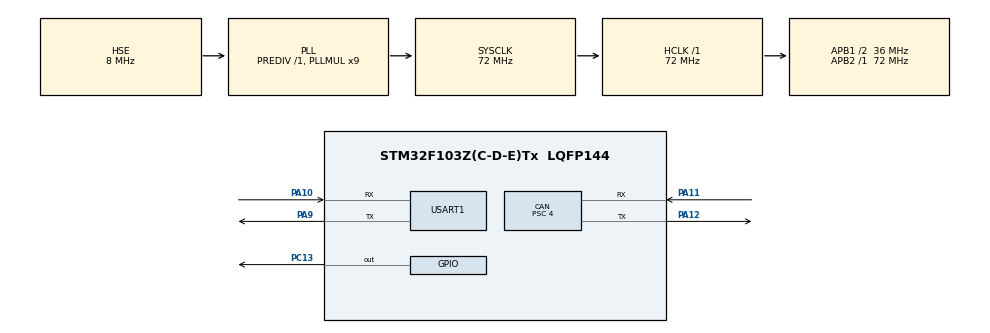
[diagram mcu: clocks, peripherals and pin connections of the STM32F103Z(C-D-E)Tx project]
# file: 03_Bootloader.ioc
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CAN.BS1=CAN_BS1_9TQ
CAN.BS2=CAN_BS2_8TQ
CAN.CalculateBaudRate=500000
CAN.CalculateTimeBit=2000
CAN.CalculateTimeQuantum=111.11111111111111
CAN.NART=ENABLE
CAN.Prescaler=4
Mcu.Family=STM32F1
Mcu.Name=STM32F103Z(C-D-E)Tx
Mcu.Package=LQFP144
NVIC.PriorityGroup=NVIC_PRIORITYGROUP_4
OSC_IN.Mode=HSE-External-Oscillator
OSC_IN.Signal=RCC_OSC_IN
OSC_OUT.Mode=HSE-External-Oscillator
OSC_OUT.Signal=RCC_OSC_OUT
PA10.Mode=Asynchronous
PA10.Signal=USART1_RX
PA11.Mode=CAN_Activate
PA11.Signal=CAN_RX
PA12.Mode=CAN_Activate
PA12.Signal=CAN_TX
PA13.Mode=Serial_Wire
PA13.Signal=SYS_JTMS-SWDIO
PA14.Mode=Serial_Wire
PA14.Signal=SYS_JTCK-SWCLK
PA9.Mode=Asynchronous
PA9.Signal=USART1_TX
PC13-TAMPER-RTC.Signal=GPIO_Output
PC14-OSC32_IN.Mode=LSE-External-Oscillator
PC14-OSC32_IN.Signal=RCC_OSC32_IN
PC15-OSC32_OUT.Mode=LSE-External-Oscillator
PC15-OSC32_OUT.Signal=RCC_OSC32_OUT
ProjectManager.HeapSize=0x200
ProjectManager.StackSize=0x400
ProjectManager.TargetToolchain=MDK-ARM V5.32
RCC.AHBFreq_Value=72000000
RCC.APB1CLKDivider=RCC_HCLK_DIV2
RCC.APB1Freq_Value=36000000
RCC.APB1TimFreq_Value=72000000
RCC.APB2Freq_Value=72000000
RCC.APB2TimFreq_Value=72000000
RCC.HCLKFreq_Value=72000000
RCC.PLLMUL=RCC_PLL_MUL9
RCC.PLLSourceVirtual=RCC_PLLSOURCE_HSE
RCC.SYSCLKFreq_VALUE=72000000
RCC.SYSCLKSource=RCC_SYSCLKSOURCE_PLLCLK
RCC.USBFreq_Value=72000000
USART1.VirtualMode=VM_ASYNC
board=custom

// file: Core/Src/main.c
/* USER CODE BEGIN Header */
/**
  ******************************************************************************
  * @file           : main.c
  * @brief          : Main program body
  ******************************************************************************
  * @attention
  *
  * Copyright (c) 2026 STMicroelectronics.
  * All rights reserved.
  *
  * This software is licensed under terms that can be found in the LICENSE file
  * in the root directory of this software component.
  * If no LICENSE file comes with this software, it is provided AS-IS.
  *
  ******************************************************************************
  */
/* USER CODE END Header */
#include "main.h"
#include "can.h"
#include "usart.h"
#include "gpio.h"

/* USER CODE BEGIN Includes */

#include <stdio.h>
#include <string.h>
#include "canif.h"
#include "inter_flashif.h"
#include "boot_manager.h"
#include "iso_to.h"

/* USER CODE END Includes */

void SystemClock_Config(void);

int main(void)
{

  /* MCU Configuration--------------------------------------------------------*/

  /* Reset of all peripherals, Initializes the Flash interface and the Systick. */
  HAL_Init();

  /* Configure the system clock */
  SystemClock_Config();

  /* Initialize all configured peripherals */
  MX_GPIO_Init();
  MX_CAN_Init();
  MX_USART1_UART_Init();
  /* USER CODE BEGIN 2 */

	 Can_Filter_Init();                 /* ������ȫ���� + HAL_CAN_Start */

  printf("\r\n==== 34Bootloader start ====\r\n");

  uint8_t ota_flag = inter_flash_cfg_get_ota_flag();

	/* 首次上电参数区全是0xFF，自动写入一份出厂参数(flag=0)，省去手动烧录 */
	if (ota_flag == 0xFF) {
			printf("param area invalid, write factory default\r\n");
			inter_flash_cfg_set_app_update_flag(0);  // 将默认参数写入Flash参数区，升级标记置0
			ota_flag = 0;                            // 更新本地变量，标记为正常启动模式
	}
	printf("ota_flag = %d\r\n", ota_flag);

	if (ota_flag == 1) {
		printf("[OTA] entered upgrade mode\r\n");
		/* 发送 OTA ACK应答帧，通知上位机31usb_tool可以开始传输固件数据 */
		uint8_t ack_data[8] = {0xBE, 0xAD, 0xBE, 0xEF, 0x01, 0x00, 0x00, 0x00}; // OTA应答报文的8字节CAN数据
		Can_Send_Msg(CAN_ID_CALL_OTA_ACK, 8, ack_data);  // 调用CAN发送函数，发送ACK报文，ID为0x0D3，数据长度8字节
		printf("[OTA] ACK sent (0x0D3), waiting firmware ...\r\n");

		/* ISO-TP stack: poll in main loop, reassemble pages, callback writes Flash */
		iso_tp_init();
		while (1) {
				iso_tp_server();

				/* BEADBEEF+02 received: whole firmware transfer finished */
				if (iso_tp_is_ota_finished()) {
						printf("[OTA] all firmware received, clear ota_flag\r\n");
						inter_flash_cfg_set_app_update_flag(0);
						HAL_Delay(50);
						/* check APP image then jump; never returns on success */
						if (boot_check_stack2jump_app(INTER_FLASH_APP_ADDR) != 0) {
								printf("[OTA] invalid APP image, system halt\r\n");
								while (1) {
										HAL_GPIO_TogglePin(GPIOC, GPIO_PIN_13);
										HAL_Delay(200);
								}
						}
				}
		}
	}

/* flag=0：正常启动流程，准备跳转到APP应用程序 */
printf("jump to APP @0x%08X ...\r\n", INTER_FLASH_APP_ADDR);
// 校验APP镜像合法性：检查栈顶地址、复位向量是否合法
if (boot_check_stack2jump_app(INTER_FLASH_APP_ADDR) != 0) {
    printf("ERROR: no valid APP! LED fast blink\r\n");
    while (1) {
        HAL_GPIO_TogglePin(GPIOC, GPIO_PIN_13);   /* LED快闪200ms：APP不存在/镜像损坏校验失败 */
        HAL_Delay(200);
    }
}

  /* USER CODE END 2 */

  /* Infinite loop */
  while (1)
  {

  }
}

void SystemClock_Config(void)
{
  RCC_OscInitTypeDef RCC_OscInitStruct = {0};
  RCC_ClkInitTypeDef RCC_ClkInitStruct = {0};

  /** Initializes the RCC Oscillators according to the specified parameters
  * in the RCC_OscInitTypeDef structure.
  */
  RCC_OscInitStruct.OscillatorType = RCC_OSCILLATORTYPE_HSE;
  RCC_OscInitStruct.HSEState = RCC_HSE_ON;
  RCC_OscInitStruct.HSEPredivValue = RCC_HSE_PREDIV_DIV1;
  RCC_OscInitStruct.HSIState = RCC_HSI_ON;
  RCC_OscInitStruct.PLL.PLLState = RCC_PLL_ON;
  RCC_OscInitStruct.PLL.PLLSource = RCC_PLLSOURCE_HSE;
  RCC_OscInitStruct.PLL.PLLMUL = RCC_PLL_MUL9;
  if (HAL_RCC_OscConfig(&RCC_OscInitStruct) != HAL_OK)
  {
    Error_Handler();
  }

  /** Initializes the CPU, AHB and APB buses clocks
  */
  RCC_ClkInitStruct.ClockType = RCC_CLOCKTYPE_HCLK|RCC_CLOCKTYPE_SYSCLK
                              |RCC_CLOCKTYPE_PCLK1|RCC_CLOCKTYPE_PCLK2;
  RCC_ClkInitStruct.SYSCLKSource = RCC_SYSCLKSOURCE_PLLCLK;
  RCC_ClkInitStruct.AHBCLKDivider = RCC_SYSCLK_DIV1;
  RCC_ClkInitStruct.APB1CLKDivider = RCC_HCLK_DIV2;
  RCC_ClkInitStruct.APB2CLKDivider = RCC_HCLK_DIV1;

  if (HAL_RCC_ClockConfig(&RCC_ClkInitStruct, FLASH_LATENCY_2) != HAL_OK)
  {
    Error_Handler();
  }
}

/* USER CODE BEGIN 4 */

/* OTA application layer: 0xBF + offset(4, big-endian) + size(4, big-endian) + data */
#define OTA_PAGE_MAGIC    0xBFu
#define OTA_HEADER_LEN    9u

/* 4-byte aligned staging buffer for WORD programming (rx_buf payload starts at
 * an unaligned offset, uint32_t pointer casts must not be used on it directly) */
static uint32_t ota_fw_buf[FLASH_FAGE_SIZE / 4u];

/**
  * @brief ISO-TP upper layer callback: one complete OTA page reassembled.
  *        Big-endian parse -> range/alignment check -> erase -> write -> page ACK.
  * @param data pointer to full payload (ISO-TP buffer, not 4-byte aligned)
  * @param len  total payload length = 9 + firmware size
  */
void iso_tp_on_receive(uint8_t *data, uint16_t len)
{
    uint8_t  ack[8] = {0};
    uint32_t offset;
    uint32_t size;
    uint32_t dst;

    if (len < OTA_HEADER_LEN || data[0] != OTA_PAGE_MAGIC) {
        printf("[OTA] bad page magic/len\r\n");
        return;   /* no ACK -> sender times out and aborts the page */
    }

    /* big-endian, CPU-independent parsing */
    offset = ((uint32_t)data[1] << 24) | ((uint32_t)data[2] << 16) |
             ((uint32_t)data[3] <<  8) | ((uint32_t)data[4]);
    size   = ((uint32_t)data[5] << 24) | ((uint32_t)data[6] << 16) |
             ((uint32_t)data[7] <<  8) | ((uint32_t)data[8]);

    /* sanity: non-empty, WORD aligned, page aligned offset, inside APP region */
    if (size == 0u || (size & 0x03u) != 0u ||
        (offset % FLASH_FAGE_SIZE) != 0u ||
        offset > (INTER_FLASH_APP_END - INTER_FLASH_APP_ADDR) ||
        size   > (INTER_FLASH_APP_END - INTER_FLASH_APP_ADDR) - offset) {
        printf("[OTA] invalid offset=0x%08lX size=%lu\r\n", offset, size);
        return;
    }
    if ((uint32_t)(len - OTA_HEADER_LEN) < size) {
        printf("[OTA] declared size %lu > payload %u\r\n", size, len - OTA_HEADER_LEN);
        return;
    }

    dst = INTER_FLASH_APP_ADDR + offset;
    memcpy(ota_fw_buf, &data[OTA_HEADER_LEN], size);   /* align for WORD access */

    printf("[OTA] page @0x%08lX size=%lu erasing...\r\n", dst, size);
    if (inter_flashif_erase_page(dst) != 0u) {
        printf("[OTA] erase FAIL\r\n");
        return;
    }
    if (inter_flashif_write_page(dst, ota_fw_buf, size / 4u) != 0u) {
        printf("[OTA] write FAIL\r\n");
        return;
    }

    /* custom page ACK (byte0=0xBF) -> unblock sender wait_flow_control() */
    ack[0] = OTA_PAGE_MAGIC;
    Can_Send_Msg(CAN_ID_OTA_RECV, 8, ack);
    printf("[OTA] page OK, ACK sent\r\n");
}

/* USER CODE END 4 */

void Error_Handler(void)
{
  __disable_irq();
  while (1)
  {
  }
}
